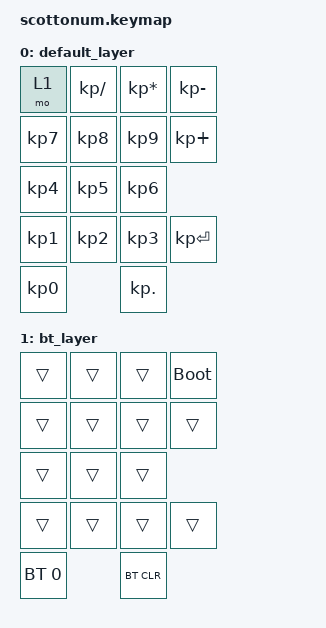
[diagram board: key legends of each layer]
#include <behaviors.dtsi>
#include <dt-bindings/zmk/keys.h>
#include <dt-bindings/zmk/bt.h>

/ {  
    keymap {
        compatible = "zmk,keymap";

        default_layer {
            bindings = <
                &mo 1         &kp KP_SLASH     &kp KP_ASTERISK     &kp KP_MINUS
                &kp KP_N7     &kp KP_N8        &kp KP_N9           &kp KP_PLUS
                &kp KP_N4     &kp KP_N5        &kp KP_N6
                &kp KP_N1     &kp KP_N2        &kp KP_N3           &kp KP_ENTER
                &kp KP_N0                      &kp KP_DOT
            >;
        }; 
        
        bt_layer {
            bindings = <
                &trans           &trans     &trans         &bootloader
                &trans           &trans     &trans         &trans
                &trans           &trans     &trans
                &trans           &trans     &trans         &trans
                &bt BT_SEL 0                &bt BT_CLR
            >;
        };
    };
};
